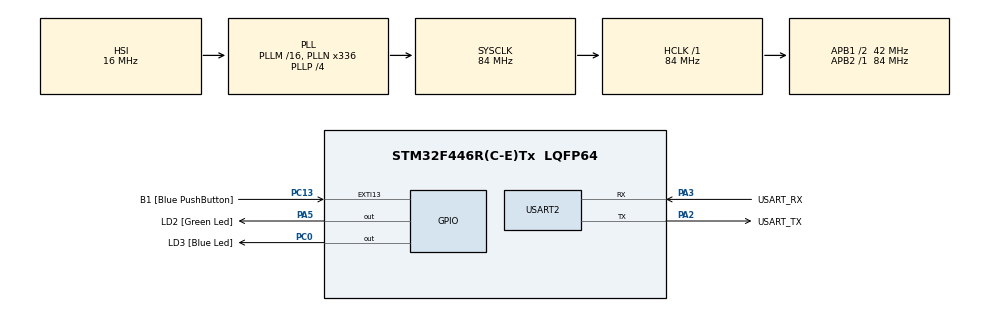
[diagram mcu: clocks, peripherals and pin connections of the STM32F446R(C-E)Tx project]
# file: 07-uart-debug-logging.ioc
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FREERTOS.Tasks01=defaultTask,24,128,StartDefaultTask,Default,NULL,Dynamic,NULL,NULL
FREERTOS.configUSE_NEWLIB_REENTRANT=1
FREERTOS.copyHeapFile=1
Mcu.Family=STM32F4
Mcu.Name=STM32F446R(C-E)Tx
Mcu.Package=LQFP64
NVIC.EXTI15_10_IRQn=true\:5\:0\:false\:false\:true\:true\:true\:true\:true
NVIC.PriorityGroup=NVIC_PRIORITYGROUP_4
NVIC.TIM1_UP_TIM10_IRQn=true\:15\:0\:false\:false\:true\:false\:false\:true\:true
NVIC.TimeBase=TIM1_UP_TIM10_IRQn
NVIC.TimeBaseIP=TIM1
PA13.GPIO_Label=TMS
PA13.Mode=Serial_Wire
PA13.Signal=SYS_JTMS-SWDIO
PA14.GPIO_Label=TCK
PA14.Mode=Serial_Wire
PA14.Signal=SYS_JTCK-SWCLK
PA2.GPIO_Label=USART_TX
PA2.Mode=Asynchronous
PA2.Signal=USART2_TX
PA3.GPIO_Label=USART_RX
PA3.Mode=Asynchronous
PA3.Signal=USART2_RX
PA5.GPIO_Label=LD2 [Green Led]
PA5.Signal=GPIO_Output
PB3.GPIO_Label=SWO
PB3.Signal=SYS_JTDO-SWO
PC0.GPIO_Label=LD3 [Blue Led]
PC0.Signal=GPIO_Output
PC13.GPIO_Label=B1 [Blue PushButton]
PC13.GPIO_ModeDefaultEXTI=GPIO_MODE_IT_FALLING
PC13.Signal=GPXTI13
PC14-OSC32_IN.Mode=LSE-External-Oscillator
PC14-OSC32_IN.Signal=RCC_OSC32_IN
PC15-OSC32_OUT.Mode=LSE-External-Oscillator
PC15-OSC32_OUT.Signal=RCC_OSC32_OUT
PH0-OSC_IN.Mode=HSE-External-Oscillator
PH0-OSC_IN.Signal=RCC_OSC_IN
PH1-OSC_OUT.Mode=HSE-External-Oscillator
PH1-OSC_OUT.Signal=RCC_OSC_OUT
ProjectManager.HeapSize=0x200
ProjectManager.StackSize=0x400
ProjectManager.TargetToolchain=STM32CubeIDE
RCC.48MHZClocksFreq_Value=84000000
RCC.AHBFreq_Value=84000000
RCC.APB1CLKDivider=RCC_HCLK_DIV2
RCC.APB1Freq_Value=42000000
RCC.APB1TimFreq_Value=84000000
RCC.APB2Freq_Value=84000000
RCC.APB2TimFreq_Value=84000000
RCC.CortexFreq_Value=84000000
RCC.FLatency-AdvancedSettings=FLASH_LATENCY_2
RCC.HCLKFreq_Value=84000000
RCC.HSE_VALUE=8000000
RCC.HSI_VALUE=16000000
RCC.PLLN=336
RCC.PLLP=RCC_PLLP_DIV4
RCC.SYSCLKFreq_VALUE=84000000
RCC.SYSCLKSource=RCC_SYSCLKSOURCE_PLLCLK
RCC.USBFreq_Value=168000000
RCC.VCOOutputFreq_Value=336000000
USART2.VirtualMode=VM_ASYNC
VP_FREERTOS_VS_CMSIS_V2.Mode=CMSIS_V2
VP_SYS_VS_tim1.Mode=TIM1
board=NUCLEO-F446RE

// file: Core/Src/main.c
/* USER CODE BEGIN Header */
/**
  ******************************************************************************
  * @file           : main.c
  * @brief          : Main program body
  ******************************************************************************
  * @attention
  *
  * Copyright (c) 2026 STMicroelectronics.
  * All rights reserved.
  *
  * This software is licensed under terms that can be found in the LICENSE file
  * in the root directory of this software component.
  * If no LICENSE file comes with this software, it is provided AS-IS.
  *
  ******************************************************************************
  */
/* USER CODE END Header */
#include "main.h"
#include "cmsis_os.h"

/* USER CODE BEGIN PM */
#define LOG_INFO(msg)  log_msg("INFO", msg)
#define LOG_WARN(msg)  log_msg("WARN", msg)
#define LOG_ERROR(msg) log_msg("ERROR", msg)
#define LOG_DEBUG(msg) log_msg("DEBUG", msg)
/* USER CODE END PM */

UART_HandleTypeDef huart2;

/* Definitions for defaultTask */
osThreadId_t defaultTaskHandle;
const osThreadAttr_t defaultTask_attributes = {
  .name = "defaultTask",
  .stack_size = 128 * 4,
  .priority = (osPriority_t) osPriorityNormal,
};
/* USER CODE BEGIN PV */
osMutexId_t uartMutex;

osThreadId_t Task1;
osThreadId_t Task2;
osThreadId_t Task3;

const osThreadAttr_t Task1_attributes = {
  .name = "Task1",
  .stack_size = 128 * 4,
  .priority = (osPriority_t) osPriorityNormal,
};

const osThreadAttr_t Task2_attributes = {
  .name = "Task2",
  .stack_size = 128 * 4,
  .priority = (osPriority_t) osPriorityNormal,
};

const osThreadAttr_t Task3_attributes = {
  .name = "Task3",
  .stack_size = 128 * 4,
  .priority = (osPriority_t) osPriorityNormal,
};

/* USER CODE END PV */

void SystemClock_Config(void);
static void MX_GPIO_Init(void);
static void MX_USART2_UART_Init(void);
void StartDefaultTask(void *argument);

/* USER CODE BEGIN PFP */
void log_msg(const char* type, const char* msg);
void StartTask1(void *argument);
void StartTask2(void *argument);
void StartTask3(void *argument);
/* USER CODE END PFP */

/* USER CODE BEGIN 0 */
#include <stdio.h>

int __io_putchar(int ch) {
    HAL_UART_Transmit(&huart2, (uint8_t*)&ch, 1, HAL_MAX_DELAY);
    return ch;
}
/* USER CODE END 0 */

int main(void)
{

  /* MCU Configuration--------------------------------------------------------*/

  /* Reset of all peripherals, Initializes the Flash interface and the Systick. */
  HAL_Init();

  /* Configure the system clock */
  SystemClock_Config();

  /* Initialize all configured peripherals */
  MX_GPIO_Init();
  MX_USART2_UART_Init();

  /* Init scheduler */
  osKernelInitialize();

  /* USER CODE BEGIN RTOS_MUTEX */
  /* add mutexes, ... */
  uartMutex = osMutexNew(NULL);
  /* USER CODE END RTOS_MUTEX */

  /* Create the thread(s) */
  /* creation of defaultTask */
  defaultTaskHandle = osThreadNew(StartDefaultTask, NULL, &defaultTask_attributes);

  /* USER CODE BEGIN RTOS_THREADS */
  /* add threads, ... */
  Task1 = osThreadNew(StartTask1, NULL, &Task1_attributes);
  Task2 = osThreadNew(StartTask2, NULL, &Task2_attributes);
  Task3 = osThreadNew(StartTask3, NULL, &Task3_attributes);
  /* USER CODE END RTOS_THREADS */

  /* Start scheduler */
  osKernelStart();

  /* We should never get here as control is now taken by the scheduler */

  /* Infinite loop */
  while (1)
  {

  }
}

void SystemClock_Config(void)
{
  RCC_OscInitTypeDef RCC_OscInitStruct = {0};
  RCC_ClkInitTypeDef RCC_ClkInitStruct = {0};

  /** Configure the main internal regulator output voltage
  */
  __HAL_RCC_PWR_CLK_ENABLE();
  __HAL_PWR_VOLTAGESCALING_CONFIG(PWR_REGULATOR_VOLTAGE_SCALE3);

  /** Initializes the RCC Oscillators according to the specified parameters
  * in the RCC_OscInitTypeDef structure.
  */
  RCC_OscInitStruct.OscillatorType = RCC_OSCILLATORTYPE_HSI;
  RCC_OscInitStruct.HSIState = RCC_HSI_ON;
  RCC_OscInitStruct.HSICalibrationValue = RCC_HSICALIBRATION_DEFAULT;
  RCC_OscInitStruct.PLL.PLLState = RCC_PLL_ON;
  RCC_OscInitStruct.PLL.PLLSource = RCC_PLLSOURCE_HSI;
  RCC_OscInitStruct.PLL.PLLM = 16;
  RCC_OscInitStruct.PLL.PLLN = 336;
  RCC_OscInitStruct.PLL.PLLP = RCC_PLLP_DIV4;
  RCC_OscInitStruct.PLL.PLLQ = 2;
  RCC_OscInitStruct.PLL.PLLR = 2;
  if (HAL_RCC_OscConfig(&RCC_OscInitStruct) != HAL_OK)
  {
    Error_Handler();
  }

  /** Initializes the CPU, AHB and APB buses clocks
  */
  RCC_ClkInitStruct.ClockType = RCC_CLOCKTYPE_HCLK|RCC_CLOCKTYPE_SYSCLK
                              |RCC_CLOCKTYPE_PCLK1|RCC_CLOCKTYPE_PCLK2;
  RCC_ClkInitStruct.SYSCLKSource = RCC_SYSCLKSOURCE_PLLCLK;
  RCC_ClkInitStruct.AHBCLKDivider = RCC_SYSCLK_DIV1;
  RCC_ClkInitStruct.APB1CLKDivider = RCC_HCLK_DIV2;
  RCC_ClkInitStruct.APB2CLKDivider = RCC_HCLK_DIV1;

  if (HAL_RCC_ClockConfig(&RCC_ClkInitStruct, FLASH_LATENCY_2) != HAL_OK)
  {
    Error_Handler();
  }
}

static void MX_USART2_UART_Init(void)
{

  huart2.Instance = USART2;
  huart2.Init.BaudRate = 115200;
  huart2.Init.WordLength = UART_WORDLENGTH_8B;
  huart2.Init.StopBits = UART_STOPBITS_1;
  huart2.Init.Parity = UART_PARITY_NONE;
  huart2.Init.Mode = UART_MODE_TX_RX;
  huart2.Init.HwFlowCtl = UART_HWCONTROL_NONE;
  huart2.Init.OverSampling = UART_OVERSAMPLING_16;
  if (HAL_UART_Init(&huart2) != HAL_OK)
  {
    Error_Handler();
  }

}

static void MX_GPIO_Init(void)
{
  GPIO_InitTypeDef GPIO_InitStruct = {0};

  /* GPIO Ports Clock Enable */
  __HAL_RCC_GPIOC_CLK_ENABLE();
  __HAL_RCC_GPIOH_CLK_ENABLE();
  __HAL_RCC_GPIOA_CLK_ENABLE();
  __HAL_RCC_GPIOB_CLK_ENABLE();

  /*Configure GPIO pin Output Level */
  HAL_GPIO_WritePin(LD3_GPIO_Port, LD3_Pin, GPIO_PIN_RESET);

  /*Configure GPIO pin Output Level */
  HAL_GPIO_WritePin(LD2_GPIO_Port, LD2_Pin, GPIO_PIN_RESET);

  /*Configure GPIO pin : B1_Pin */
  GPIO_InitStruct.Pin = B1_Pin;
  GPIO_InitStruct.Mode = GPIO_MODE_IT_FALLING;
  GPIO_InitStruct.Pull = GPIO_NOPULL;
  HAL_GPIO_Init(B1_GPIO_Port, &GPIO_InitStruct);

  /*Configure GPIO pin : LD3_Pin */
  GPIO_InitStruct.Pin = LD3_Pin;
  GPIO_InitStruct.Mode = GPIO_MODE_OUTPUT_PP;
  GPIO_InitStruct.Pull = GPIO_NOPULL;
  GPIO_InitStruct.Speed = GPIO_SPEED_FREQ_LOW;
  HAL_GPIO_Init(LD3_GPIO_Port, &GPIO_InitStruct);

  /*Configure GPIO pin : LD2_Pin */
  GPIO_InitStruct.Pin = LD2_Pin;
  GPIO_InitStruct.Mode = GPIO_MODE_OUTPUT_PP;
  GPIO_InitStruct.Pull = GPIO_NOPULL;
  GPIO_InitStruct.Speed = GPIO_SPEED_FREQ_LOW;
  HAL_GPIO_Init(LD2_GPIO_Port, &GPIO_InitStruct);

  /* EXTI interrupt init*/
  HAL_NVIC_SetPriority(EXTI15_10_IRQn, 5, 0);
  HAL_NVIC_EnableIRQ(EXTI15_10_IRQn);

}

/* USER CODE BEGIN 4 */
void log_msg(const char* type, const char* msg) {
	osMutexAcquire(uartMutex, osWaitForever);
	const char* name  = osThreadGetName(osThreadGetId());
	int32_t priority = (int32_t)osThreadGetPriority(osThreadGetId());
	uint32_t time = HAL_GetTick();
	printf("[%ld ms] [%s] [%ld] [%s] [%s]\r\n", time, name, priority, type, msg);
	osMutexRelease(uartMutex);
}

void StartTask1(void *argument) {
    uint32_t count = 0;
    for (;;) {
        LOG_INFO("running");
        count++;
        if (count % 5 == 0) {
            LOG_WARN("count reached multiple of 5");
        }
        osDelay(500);
    }
}

void StartTask2(void *argument) {
    for (;;) {
        LOG_DEBUG("heart-beat");
        osDelay(1000);
    }
}

void StartTask3(void *argument) {
    uint32_t errorCount = 0;
    for (;;) {
        errorCount++;
        if (errorCount >= 3) {
            LOG_ERROR("error threshold reached");
            errorCount = 0;
        }
        osDelay(750);
    }
}
/* USER CODE END 4 */

void StartDefaultTask(void *argument)
{
  /* USER CODE BEGIN 5 */
	uint32_t count = 0;
  /* Infinite loop */
  for(;;)
  {
	  count++;
	  if (count % 3 == 0) {
		  LOG_INFO("Divisible by 3");
	  } else if (count % 10 == 0) {
		  LOG_DEBUG("It must be divisible by 5 and 10");
	  } else if (count % 7 == 0) {
		  LOG_WARN("7 wonders");
	  } else if (count % 13 == 0) {
		  LOG_ERROR("Critical failure!");
	  } else {
		  osDelay(5000);
	  }
  }
  /* USER CODE END 5 */
}

void HAL_TIM_PeriodElapsedCallback(TIM_HandleTypeDef *htim)
{
  if (htim->Instance == TIM1)
  {
    HAL_IncTick();
  }
}

void Error_Handler(void)
{
  __disable_irq();
  while (1)
  {
  }
}
